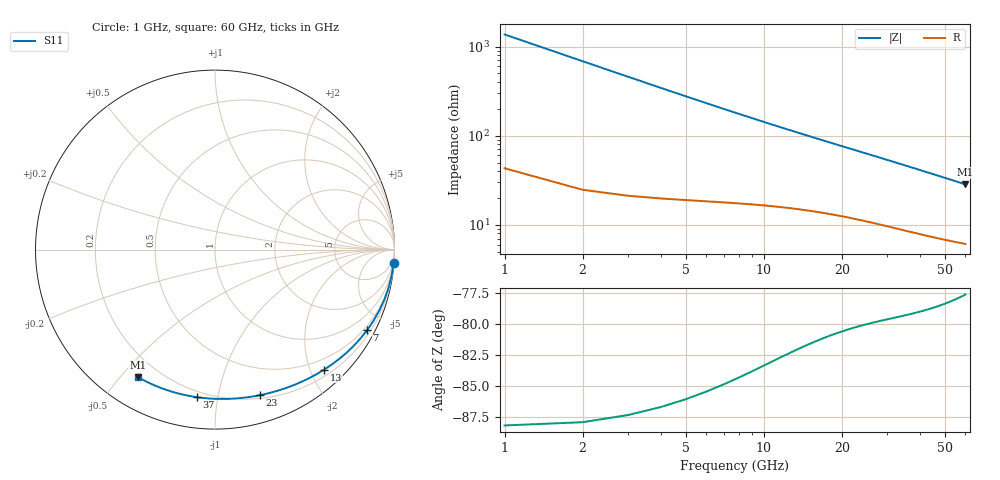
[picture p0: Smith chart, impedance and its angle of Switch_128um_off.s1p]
! Created Fri Apr 24 15:58:36 2026
# hz S ma R 50
! Port[1] TermG1
! 1 Port Network Data from SP1.SP block
! freq  magS11  angS11
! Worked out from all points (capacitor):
!   60 points, 1 GHz to 60 GHz, reference 50 ohm
!   read as one part to ground: C = 116 fF near 1 GHz
!   lowest |Z| = 28.5 ohm at 60 GHz (marker M1)
!   S11 on the Smith chart (normalised r, x): 1 GHz: 1, -27; 7 GHz: 0.36, -3.98; 13 GHz: 0.30, -2.22; 23 GHz: 0.23, -1.33; 37 GHz: 0.17, -0.87; 60 GHz: 0.12, -0.56
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1e9  0.9977 -4.2
2e9  0.9948 -8.4
3e9  0.9901 -12.5
4e9  0.9838 -16.5
5e9  0.9763 -20.4
6e9  0.9679 -24.3
7e9  0.9588 -28.0
8e9  0.9494 -31.6
9e9  0.9398 -35.1
1.1e10  0.9211 -41.6
1.3e10  0.9038 -47.8
1.4e10  0.8959 -50.6
1.6e10  0.8818 -56.1
1.9e10  0.8648 -63.7
2.1e10  0.8559 -68.4
2.3e10  0.8488 -72.8
2.4e10  0.8458 -74.9
2.7e10  0.8387 -80.8
3.1e10  0.8326 -87.9
3.4e10  0.8299 -92.7
3.7e10  0.8283 -97.1
3.8e10  0.8279 -98.5
4.2e10  0.8272 -103.7
4.6e10  0.8272 -108.3
4.9e10  0.8276 -111.5
5.3e10  0.8283 -115.4
5.6e10  0.8289 -118.0
6e10  0.8299 -121.3
